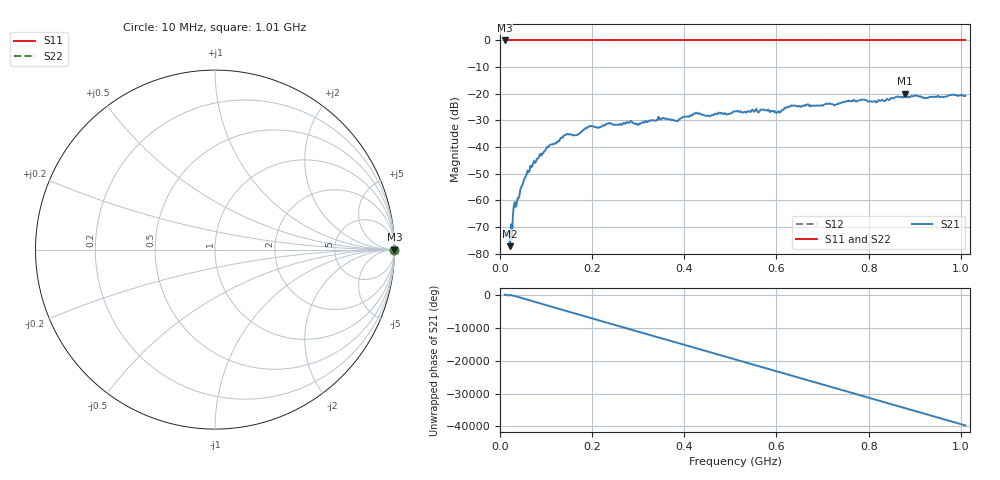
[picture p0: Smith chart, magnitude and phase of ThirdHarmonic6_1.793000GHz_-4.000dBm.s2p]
! 8/16/2025 9:41:22 PM
! C:\ANRITSUVNA\TEMP\TEMP.S2P
! CHANNEL.1
! TR.MEASUREMENT
! RAW.DATA
! RF.CORRECTION.OFF
! AVERAGING.OFF
! IF.BANDWIDTH: 5KHZ
! SWEEPTYPE:  FREQ.SWEEP(Linear)
! Reference Plane Port Info
! PORT:  PORT1  PORT2
! DISTANCE:  0  m  0  m
! TIME:  0  s  0  s
! PHASE.OFFSET:  0  deg.  0  deg.
! LOSS:  0  dB  0  dB
! REF.LOSS:  0  dB  0  dB
! REF.FREQ:  0  Hz  0  Hz
! Power Info
! POWER:  -20  dBm  -20  dBm
! EFF.POWER:  -20  dBm  -20  dBm
! SOURCE.ATTEN:  0  dB  0  dB
! TEST.ATTEN:  0  dB  0  dB
# GHZ S RI R 50.0
! FREQ.GHZ  S11RE  S11IM  S21RE  S21IM  S12RE  S12IM  S22RE  S22IM
!; PortSelection: Port_12
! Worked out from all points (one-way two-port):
!   501 points, 10 MHz to 1.01 GHz, reference 50 ohm
!   highest |S21| = -19.97 dB at 878 MHz (marker M1); lowest = -77.1 dB at 22 MHz (marker M2)
!   lowest |S11| = 0.0 dB at 10 MHz (marker M3)
!   |S11| at or under -10 dB: nowhere
!   |S22| runs from 0.0 to 0.0 dB; largest |S21 - S12| = 1.1
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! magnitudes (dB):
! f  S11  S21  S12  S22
! 10 MHz  0.0  -73.2  0.0  0.0
! 22 MHz  0.0  -77.1  0.0  0.0
! 34 MHz  0.0  -62.4  0.0  0.0
! 56 MHz  0.0  -51.0  0.0  0.0
! 70 MHz  0.0  -47.2  0.0  0.0
! 106 MHz  0.0  -39.7  0.0  0.0
! 142 MHz  0.0  -35.5  0.0  0.0
! 166 MHz  0.0  -35.5  0.0  0.0
! 178 MHz  0.0  -34.0  0.0  0.0
! 196 MHz  0.0  -32.2  0.0  0.0
! 302 MHz  0.0  -31.1  0.0  0.0
! 344 MHz  0.0  -28.6  0.0  0.0
! 382 MHz  0.0  -30.1  0.0  0.0
! 424 MHz  0.0  -27.3  0.0  0.0
! 452 MHz  0.0  -28.2  0.0  0.0
! 510 MHz  0.0  -26.6  0.0  0.0
! 604 MHz  0.0  -26.6  0.0  0.0
! 634 MHz  0.0  -24.5  0.0  0.0
! 678 MHz  0.0  -24.4  0.0  0.0
! 844 MHz  0.0  -22.3  0.0  0.0
! 878 MHz  0.0  -20.0  0.0  0.0
! 1.01 GHz  0.0  -20.7  0.0  0.0
